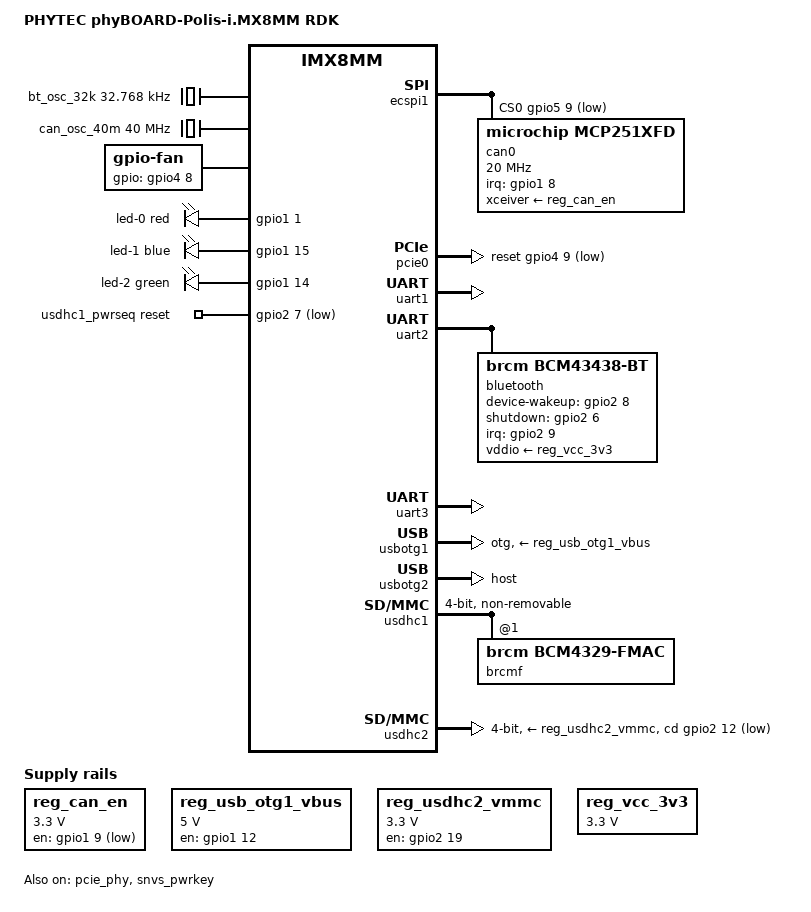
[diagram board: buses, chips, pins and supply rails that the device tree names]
// SPDX-License-Identifier: GPL-2.0
/*
 * Copyright (C) 2022 PHYTEC Messtechnik GmbH
 * Author: Teresa Remmet <t.remmet@phytec.de>
 */

/dts-v1/;

#include <dt-bindings/interrupt-controller/irq.h>
#include <dt-bindings/leds/common.h>
#include <dt-bindings/phy/phy-imx8-pcie.h>
#include "imx8mm-phycore-som.dtsi"

/ {
	model = "PHYTEC phyBOARD-Polis-i.MX8MM RDK";
	compatible = "phytec,imx8mm-phyboard-polis-rdk",
		     "phytec,imx8mm-phycore-som", "fsl,imx8mm";

	chosen {
		stdout-path = &uart3;
	};

	bt_osc_32k: bt-lp-clock {
		compatible = "fixed-clock";
		clock-frequency = <32768>;
		clock-output-names = "bt_osc_32k";
		#clock-cells = <0>;
	};

	can_osc_40m: can-clock {
		compatible = "fixed-clock";
		clock-frequency = <40000000>;
		clock-output-names = "can_osc_40m";
		#clock-cells = <0>;
	};

	fan {
		compatible = "gpio-fan";
		gpios = <&gpio4 8 GPIO_ACTIVE_HIGH>;
		gpio-fan,speed-map = <0     0
				      13000 1>;
		pinctrl-names = "default";
		pinctrl-0 = <&pinctrl_fan>;
		#cooling-cells = <2>;
	};

	leds {
		compatible = "gpio-leds";
		pinctrl-names = "default";
		pinctrl-0 = <&pinctrl_leds>;

		led-0 {
			color = <LED_COLOR_ID_RED>;
			function = LED_FUNCTION_DISK;
			gpios = <&gpio1 1 GPIO_ACTIVE_HIGH>;
			linux,default-trigger = "mmc2";
		};

		led-1 {
			color = <LED_COLOR_ID_BLUE>;
			function = LED_FUNCTION_DISK;
			gpios = <&gpio1 15 GPIO_ACTIVE_HIGH>;
			linux,default-trigger = "mmc1";
		};

		led-2 {
			color = <LED_COLOR_ID_GREEN>;
			function = LED_FUNCTION_CPU;
			gpios = <&gpio1 14 GPIO_ACTIVE_HIGH>;
			linux,default-trigger = "heartbeat";
		};
	};

	usdhc1_pwrseq: pwr-seq {
		compatible = "mmc-pwrseq-simple";
		post-power-on-delay-ms = <100>;
		power-off-delay-us = <60>;
		reset-gpios = <&gpio2 7 GPIO_ACTIVE_LOW>;
	};

	reg_can_en: regulator-can-en {
		compatible = "regulator-fixed";
		gpio = <&gpio1 9 GPIO_ACTIVE_LOW>;
		pinctrl-names = "default";
		pinctrl-0 = <&pinctrl_can_en>;
		regulator-max-microvolt = <3300000>;
		regulator-min-microvolt = <3300000>;
		regulator-name = "CAN_EN";
		startup-delay-us = <20>;
	};

	reg_usb_otg1_vbus: regulator-usb-otg1 {
		compatible = "regulator-fixed";
		gpio = <&gpio1 12 GPIO_ACTIVE_HIGH>;
		enable-active-high;
		pinctrl-names = "default";
		pinctrl-0 = <&pinctrl_usbotg1pwrgrp>;
		regulator-name = "usb_otg1_vbus";
		regulator-max-microvolt = <5000000>;
		regulator-min-microvolt = <5000000>;
	};

	reg_usdhc2_vmmc: regulator-usdhc2 {
		compatible = "regulator-fixed";
		gpio = <&gpio2 19 GPIO_ACTIVE_HIGH>;
		enable-active-high;
		off-on-delay-us = <20000>;
		pinctrl-names = "default";
		pinctrl-0 = <&pinctrl_reg_usdhc2_vmmc>;
		regulator-max-microvolt = <3300000>;
		regulator-min-microvolt = <3300000>;
		regulator-name = "VSD_3V3";
	};

	reg_vcc_3v3: regulator-vcc-3v3 {
		compatible = "regulator-fixed";
		regulator-max-microvolt = <3300000>;
		regulator-min-microvolt = <3300000>;
		regulator-name = "VCC_3V3";
	};
};

/* SPI - CAN MCP251XFD */
&ecspi1 {
	cs-gpios = <&gpio5 9 GPIO_ACTIVE_LOW>;
	pinctrl-names = "default";
	pinctrl-0 = <&pinctrl_ecspi1>;
	status = "okay";

	can0: can@0 {
		compatible = "microchip,mcp251xfd";
		clocks = <&can_osc_40m>;
		interrupt-parent = <&gpio1>;
		interrupts = <8 IRQ_TYPE_LEVEL_LOW>;
		pinctrl-names = "default";
		pinctrl-0 = <&pinctrl_can_int>;
		reg = <0>;
		spi-max-frequency = <20000000>;
		xceiver-supply = <&reg_can_en>;
	};
};

&gpio1 {
	gpio-line-names = "nINT_ETHPHY", "LED_RED", "WDOG_INT", "X_RTC_INT",
		"", "", "", "RESET_ETHPHY",
		"CAN_nINT", "CAN_EN", "nENABLE_FLATLINK", "",
		"USB_OTG_VBUS_EN", "", "LED_GREEN", "LED_BLUE";
};

&gpio2 {
	gpio-line-names = "", "", "", "",
		"", "", "BT_REG_ON", "WL_REG_ON",
		"BT_DEV_WAKE", "BT_HOST_WAKE", "", "",
		"X_SD2_CD_B", "", "", "",
		"", "", "", "SD2_RESET_B";
};

&gpio4 {
	gpio-line-names = "", "", "", "",
		"", "", "", "",
		"FAN", "miniPCIe_nPERST", "", "",
		"COEX1", "COEX2";
};

&gpio5 {
	gpio-line-names = "", "", "", "",
		"", "", "", "",
		"", "ECSPI1_SS0";
};

/* PCIe */
&pcie0 {
	assigned-clocks = <&clk IMX8MM_CLK_PCIE1_AUX>,
			  <&clk IMX8MM_CLK_PCIE1_CTRL>;
	assigned-clock-parents = <&clk IMX8MM_SYS_PLL2_50M>,
				 <&clk IMX8MM_SYS_PLL2_250M>;
	assigned-clock-rates = <10000000>, <250000000>;
	pinctrl-names = "default";
	pinctrl-0 = <&pinctrl_pcie>;
	reset-gpio = <&gpio4 9 GPIO_ACTIVE_LOW>;
	status = "okay";
};

&pcie_phy {
	clocks = <&clk IMX8MM_CLK_PCIE1_PHY>;
	fsl,clkreq-unsupported;
	fsl,refclk-pad-mode = <IMX8_PCIE_REFCLK_PAD_OUTPUT>;
	fsl,tx-deemph-gen1 = <0x2d>;
	fsl,tx-deemph-gen2 = <0xf>;
	status = "okay";
};

&rv3028 {
	trickle-resistor-ohms = <3000>;
};

&snvs_pwrkey {
	status = "okay";
};

/* UART - RS232/RS485 */
&uart1 {
	assigned-clocks = <&clk IMX8MM_CLK_UART1>;
	assigned-clock-parents = <&clk IMX8MM_SYS_PLL1_80M>;
	pinctrl-names = "default";
	pinctrl-0 = <&pinctrl_uart1>;
	uart-has-rtscts;
	status = "okay";
};

/* UART - Sterling-LWB Bluetooth */
&uart2 {
	assigned-clocks = <&clk IMX8MM_CLK_UART2>;
	assigned-clock-parents = <&clk IMX8MM_SYS_PLL1_80M>;
	fsl,dte-mode;
	pinctrl-names = "default";
	pinctrl-0 = <&pinctrl_uart2_bt>;
	uart-has-rtscts;
	status = "okay";

	bluetooth {
		compatible = "brcm,bcm43438-bt";
		clocks = <&bt_osc_32k>;
		clock-names = "lpo";
		device-wakeup-gpios = <&gpio2 8 GPIO_ACTIVE_HIGH>;
		interrupt-names = "host-wakeup";
		interrupt-parent = <&gpio2>;
		interrupts = <9 IRQ_TYPE_EDGE_BOTH>;
		max-speed = <2000000>;
		pinctrl-names = "default";
		pinctrl-0 = <&pinctrl_bt>;
		shutdown-gpios = <&gpio2 6 GPIO_ACTIVE_HIGH>;
		vddio-supply = <&reg_vcc_3v3>;
	};
};

/* UART - console */
&uart3 {
	pinctrl-names = "default";
	pinctrl-0 = <&pinctrl_uart3>;
	status = "okay";
};

/* USB */
&usbotg1 {
	adp-disable;
	dr_mode = "otg";
	over-current-active-low;
	samsung,picophy-pre-emp-curr-control = <3>;
	samsung,picophy-dc-vol-level-adjust = <7>;
	srp-disable;
	vbus-supply = <&reg_usb_otg1_vbus>;
	status = "okay";
};

&usbotg2 {
	disable-over-current;
	dr_mode = "host";
	samsung,picophy-pre-emp-curr-control = <3>;
	samsung,picophy-dc-vol-level-adjust = <7>;
	status = "okay";
};

/* SDIO - Sterling-LWB Wifi */
&usdhc1 {
	assigned-clocks = <&clk IMX8MM_CLK_USDHC1>;
	assigned-clock-rates = <200000000>;
	bus-width = <4>;
	mmc-pwrseq = <&usdhc1_pwrseq>;
	non-removable;
	no-1-8-v;
	pinctrl-names = "default";
	pinctrl-0 = <&pinctrl_usdhc1>, <&pinctrl_wlan>;
	#address-cells = <1>;
	#size-cells = <0>;
	status = "okay";

	brcmf: wifi@1 {
		compatible = "brcm,bcm4329-fmac";
		reg = <1>;
	};
};

/* SD-Card */
&usdhc2 {
	assigned-clocks = <&clk IMX8MM_CLK_USDHC2>;
	assigned-clock-rates = <200000000>;
	bus-width = <4>;
	cd-gpios = <&gpio2 12 GPIO_ACTIVE_LOW>;
	disable-wp;
	pinctrl-names = "default", "state_100mhz", "state_200mhz";
	pinctrl-0 = <&pinctrl_usdhc2>, <&pinctrl_usdhc2_gpio>;
	pinctrl-1 = <&pinctrl_usdhc2_100mhz>, <&pinctrl_usdhc2_gpio>;
	pinctrl-2 = <&pinctrl_usdhc2_200mhz>, <&pinctrl_usdhc2_gpio>;
	vmmc-supply = <&reg_usdhc2_vmmc>;
	vqmmc-supply = <&reg_nvcc_sd2>;
	status = "okay";
};

&iomuxc {
	pinctrl_bt: btgrp {
		fsl,pins = <
			MX8MM_IOMUXC_SD1_DATA4_GPIO2_IO6	0x00
			MX8MM_IOMUXC_SD1_DATA6_GPIO2_IO8	0x00
			MX8MM_IOMUXC_SD1_DATA7_GPIO2_IO9	0x00
		>;
	};

	pinctrl_can_en: can-engrp {
		fsl,pins = <
			MX8MM_IOMUXC_GPIO1_IO09_GPIO1_IO9	0x00
		>;
	};

	pinctrl_can_int: can-intgrp {
		fsl,pins = <
			MX8MM_IOMUXC_GPIO1_IO08_GPIO1_IO8	0x00
		>;
	};

	pinctrl_ecspi1: ecspi1grp {
		fsl,pins = <
			MX8MM_IOMUXC_ECSPI1_MISO_ECSPI1_MISO	0x80
			MX8MM_IOMUXC_ECSPI1_MOSI_ECSPI1_MOSI	0x80
			MX8MM_IOMUXC_ECSPI1_SCLK_ECSPI1_SCLK	0x80
			MX8MM_IOMUXC_ECSPI1_SS0_GPIO5_IO9	0x00
		>;
	};

	pinctrl_fan: fan0grp {
		fsl,pins = <
			MX8MM_IOMUXC_SAI1_RXD6_GPIO4_IO8	0x16
		>;
	};

	pinctrl_leds: leds1grp {
		fsl,pins = <
			MX8MM_IOMUXC_GPIO1_IO01_GPIO1_IO1	0x16
			MX8MM_IOMUXC_GPIO1_IO14_GPIO1_IO14	0x16
			MX8MM_IOMUXC_GPIO1_IO15_GPIO1_IO15	0x16
		>;
	};

	pinctrl_pcie: pciegrp {
		fsl,pins = <
			MX8MM_IOMUXC_SAI1_RXD7_GPIO4_IO9	0x00
			MX8MM_IOMUXC_SAI1_TXD0_GPIO4_IO12	0x12
			MX8MM_IOMUXC_SAI1_TXD7_GPIO4_IO19	0x12
		>;
	};

	pinctrl_reg_usdhc2_vmmc: regusdhc2vmmcgrp {
		fsl,pins = <
			MX8MM_IOMUXC_SD2_RESET_B_GPIO2_IO19	0x40
		>;
	};

	pinctrl_uart1: uart1grp {
		fsl,pins = <
			MX8MM_IOMUXC_SAI2_RXC_UART1_DCE_RX	0x00
			MX8MM_IOMUXC_SAI2_RXD0_UART1_DCE_RTS_B	0x00
			MX8MM_IOMUXC_SAI2_RXFS_UART1_DCE_TX	0x00
			MX8MM_IOMUXC_SAI2_TXFS_UART1_DCE_CTS_B	0x00
		>;
	};

	pinctrl_uart2_bt: uart2btgrp {
		fsl,pins = <
			MX8MM_IOMUXC_SAI3_RXC_UART2_DTE_RTS_B	0x00
			MX8MM_IOMUXC_SAI3_RXD_UART2_DTE_CTS_B	0x00
			MX8MM_IOMUXC_SAI3_TXC_UART2_DTE_RX	0x00
			MX8MM_IOMUXC_SAI3_TXFS_UART2_DTE_TX	0x00
		>;
	};

	pinctrl_uart3: uart3grp {
		fsl,pins = <
			MX8MM_IOMUXC_UART3_RXD_UART3_DCE_RX	0x40
			MX8MM_IOMUXC_UART3_TXD_UART3_DCE_TX	0x40
		>;
	};

	pinctrl_usbotg1pwrgrp: usbotg1pwrgrp {
		fsl,pins = <
			MX8MM_IOMUXC_GPIO1_IO12_GPIO1_IO12	0x00
		>;
	};

	pinctrl_usdhc1: usdhc1grp {
		fsl,pins = <
			MX8MM_IOMUXC_SD1_CLK_USDHC1_CLK		0x182
			MX8MM_IOMUXC_SD1_CMD_USDHC1_CMD		0xc6
			MX8MM_IOMUXC_SD1_DATA0_USDHC1_DATA0	0xc6
			MX8MM_IOMUXC_SD1_DATA1_USDHC1_DATA1	0xc6
			MX8MM_IOMUXC_SD1_DATA2_USDHC1_DATA2	0xc6
			MX8MM_IOMUXC_SD1_DATA3_USDHC1_DATA3	0xc6
		>;
	};

	pinctrl_usdhc2_gpio: usdhc2gpiogrp {
		fsl,pins = <
			MX8MM_IOMUXC_SD2_CD_B_GPIO2_IO12	0x40
		>;
	};

	pinctrl_usdhc2: usdhc2grp {
		fsl,pins = <
			MX8MM_IOMUXC_GPIO1_IO04_USDHC2_VSELECT	0x1d0
			MX8MM_IOMUXC_SD2_CLK_USDHC2_CLK		0x192
			MX8MM_IOMUXC_SD2_CMD_USDHC2_CMD		0x1d2
			MX8MM_IOMUXC_SD2_DATA0_USDHC2_DATA0	0x1d2
			MX8MM_IOMUXC_SD2_DATA1_USDHC2_DATA1	0x1d2
			MX8MM_IOMUXC_SD2_DATA2_USDHC2_DATA2	0x1d2
			MX8MM_IOMUXC_SD2_DATA3_USDHC2_DATA3	0x1d2
		>;
	};

	pinctrl_usdhc2_100mhz: usdhc2-100mhzgrp {
		fsl,pins = <
			MX8MM_IOMUXC_GPIO1_IO04_USDHC2_VSELECT	0x1d0
			MX8MM_IOMUXC_SD2_CLK_USDHC2_CLK		0x194
			MX8MM_IOMUXC_SD2_CMD_USDHC2_CMD		0x1d4
			MX8MM_IOMUXC_SD2_DATA0_USDHC2_DATA0	0x1d4
			MX8MM_IOMUXC_SD2_DATA1_USDHC2_DATA1	0x1d4
			MX8MM_IOMUXC_SD2_DATA2_USDHC2_DATA2	0x1d4
			MX8MM_IOMUXC_SD2_DATA3_USDHC2_DATA3	0x1d4
		>;
	};

	pinctrl_usdhc2_200mhz: usdhc2-200mhzgrp {
		fsl,pins = <
			MX8MM_IOMUXC_GPIO1_IO04_USDHC2_VSELECT	0x1d0
			MX8MM_IOMUXC_SD2_CLK_USDHC2_CLK		0x196
			MX8MM_IOMUXC_SD2_CMD_USDHC2_CMD		0x1d6
			MX8MM_IOMUXC_SD2_DATA0_USDHC2_DATA0	0x1d6
			MX8MM_IOMUXC_SD2_DATA1_USDHC2_DATA1	0x1d6
			MX8MM_IOMUXC_SD2_DATA2_USDHC2_DATA2	0x1d6
			MX8MM_IOMUXC_SD2_DATA3_USDHC2_DATA3	0x1d6
		>;
	};

	pinctrl_wlan: wlangrp {
		fsl,pins = <
			MX8MM_IOMUXC_SD1_DATA5_GPIO2_IO7	0x00
		>;
	};
};
